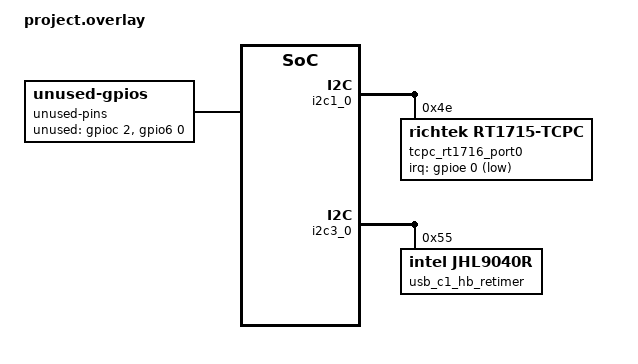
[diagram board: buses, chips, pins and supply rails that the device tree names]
/* Copyright 2022 The ChromiumOS Authors
 * Use of this source code is governed by a BSD-style license that can be
 * found in the LICENSE file.
 */

#include <cros/cbi_flash.dtsi>

/* Rex program common DTSI includes */
#include "../fan.dtsi"
#include "../generated.dtsi"
#include "../interrupts.dtsi"
#include "../keyboard.dtsi"
#include "../power_signals.dtsi"
#include "../rex.dtsi"
#include "../usbc.dtsi"

/* Karis project DTS includes */
#include "battery.dtsi"
#include "cbi.dtsi"
#include "i2c.dtsi"
#include "keyboard.dtsi"
#include "led_pins.dtsi"
#include "led_policy.dtsi"
#include "motionsense.dtsi"
#include "temp_sensors.dtsi"

/ {
	named-gpios {
		/delete-node/ ec_spare_gpio42;
		/delete-node/ ec_spare_gpioc7;
		/delete-node/ ec_spare_gpioa4;
		/delete-node/ ec_spare_gpiob1;
		/delete-node/ usb_c1_rst_odl;
		/delete-node/ usb_c0_rt_rst_ls_l;
		/delete-node/ led_3_l;
		/delete-node/ led_4_l;
		/delete-node/ usb_c0_sbu_fault_odl;
		/delete-node/ usb_c0_bc12_int_odl;
		/delete-node/ usb_c1_bc12_int_odl;

		gpio_usb_c0_frs_en: usb_c0_frs_en {
			gpios = <&gpio4 2 GPIO_OUTPUT_LOW>;
		};
		gpio_usb_c0_rt_rst_odl: usb_c0_rt_rst_odl {
			gpios = <&gpio3 7 GPIO_OUTPUT>;
		};
		/*
		 * Karis moves usb_c1_rst_odl form GPIO37 to GPIOC7
		 * and rename to usb_c1_rt_3p3_sx_en
		 */
		gpio_usb_c1_rst_odl: usb_c1_rt_3p3_sx_en {
			gpios = <&gpioc 7 GPIO_ODR_LOW>;
		};
		/*
		 * Karis moves usb_c1_rt_rst_r_odl form GPIO72 to
		 * GPIOA4 for the RST PIN should be 1.8V
		 */
		gpio_usb_c1_rt_rst_r_odl: usb_c1_rt_rst_r_odl {
			gpios = <&gpioa 4 GPIO_ODR_HIGH>;
		};
		gpio_ec_spare_gpio74: gpio_ec_spare_gpio74 {
			gpios = <&gpio7 4 GPIO_OUTPUT>;
		};
		gpio_en_pp5000_usba_r: en_pp5000_usba_r {
			gpios = <&gpiod 7 (GPIO_OUTPUT | GPIO_ACTIVE_LOW)>;
		};
		gpio_ec_kso_02_inv: ec_kso_02_inv {
			gpios = <&gpio1 7 (GPIO_OUTPUT | GPIO_ACTIVE_HIGH)>;
			enum-name = "GPIO_KBD_KSO2";
		};
		/*
		 * touch panel enable and soc backlight enable
		 * to control the touch enable timing
		 */
		gpio_ec_touch_en: ec_touch_en {
			gpios = <&gpiob 1 GPIO_OUTPUT_LOW>;
		};
		gpio_soc_3v3_edp_bl_en: soc_3v3_edp_bl_en {
			gpios = <&gpioc 6 GPIO_INPUT_PULL_DOWN>;
		};
	};

	unused-pins {
		compatible = "unused-gpios";
		unused-gpios =
			<&gpioc 2 0>, /* led_3_l */
			<&gpio6 0 0>; /* led_4_l */
	};

	aliases {
		hbr-usb-c1-rt-pwr-en = &gpio_usb_c1_rst_odl;
		hbr-usb-c1-rt-int-odl = &gpio_usb_c1_rt_int_odl;
		hbr-usb-c1-rt-rst-odl = &gpio_usb_c1_rt_rst_r_odl;
		syv-usb-c1-frs-en = &gpio_usb_c1_frs_en;
	};

	gpio-interrupts {
		/delete-node/ ec_als_rgb;
		/delete-node/ c0_sbu_fault;
		/delete-node/ usb_c0_bc12;
		/delete-node/ usb_c1_bc12;

		int_imu: ec_imu {
			irq-pin = <&gpio_ec_imu_int_r_l>;
			flags = <GPIO_INT_EDGE_FALLING>;
			handler = "bma4xx_interrupt";
		};
		int_soc_edp_bl_en: soc_edp_bl_en {
			irq-pin = <&gpio_soc_3v3_edp_bl_en>;
			flags = <GPIO_INT_EDGE_BOTH>;
			handler = "soc_edp_bl_interrupt";
		};
		int_accel: ec_accel {
			irq-pin = <&gpio_ec_accel_int_r_l>;
			flags = <GPIO_INT_EDGE_FALLING>;
			handler = "bma4xx_interrupt";
		};
	};
};

&i2c1_0 {
	/delete-node/ nct38xx@70;

	tcpc_rt1716_port0: rt1716@4e {
		compatible = "richtek,rt1715-tcpc";
		reg = <0x4e>;
		tcpc-flags = <(TCPC_FLAGS_TCPCI_REV2_0 |
			TCPC_FLAGS_TCPCI_REV2_0_NO_VSAFE0V)>;
		/* a duplicate of the <&gpio_usb_c0_tcpc_int_odl> node in
		 * "named-gpios". This is the Zephyr preferred style,
		 * the "named-gpios" node will be dealt with at a later date.
		 */
		irq-gpios = <&gpioe 0 GPIO_ACTIVE_LOW>;
		is-alt;
	};
};

&ppc_port0_syv {
	frs_en_gpio = <&gpio_usb_c0_frs_en>;
};

&i2c2_0 {
	/delete-node/ pi3usb9201@5f;
};

&i2c3_0 {
	usb_c1_hb_retimer: jhl9040r-c1@55 {
		compatible = "intel,jhl9040r";
		reg = <0x55>;
		ls-en-pin = <&gpio_usb_c1_rst_odl>; /* usb_c1_rt_3p3_sx_en */
		int-pin = <&gpio_usb_c1_rt_int_odl>;
		reset-pin = <&gpio_usb_c1_rt_rst_r_odl>;
	};
};

&usb_c0_hb_retimer {
	reset-pin = <&gpio_usb_c0_rt_rst_odl>;
};

&i2c6_1 {
	/delete-node/ pi3usb9201@5f;
	/delete-node/ usb-c1-hb-retimer@56;
};

&usbc_port0 {
	/delete-property/ bc12;

	tcpc = <&tcpc_rt1716_port0>;
};

&usbc_port1 {
	/delete-property/ bc12;
};

&fan0 {
	pwms = <&pwm5 0 PWM_KHZ(25) PWM_POLARITY_NORMAL>;
	rpm_min = <2500>;
	rpm_start = <2500>;
	rpm_max = <6000>;
};

&cbi_flash {
	/*
	 * CBI section size is 0x1000 bytes, the CBI portion lies at the end of
	 * EC_RO section. EC_RO section ends at 0x50000 byte which is the offset
	 */
	offset = <0x50000>;
	size = <0x1000>;
};

&cros_kb_raw {
	pinctrl-1 = <
		&ksi0_gpio_gp31
		&ksi1_gpio_gp30
		&ksi2_gpio_gp27
		&ksi3_gpio_gp26
		&ksi4_gpio_gp25
		&ksi5_gpio_gp24
		&ksi6_gpio_gp23
		&ksi7_gpio_gp22
		&kso00_gpio_gp21
		&kso01_gpio_gp20
		&kso03_gpio_gp16
		&kso04_gpio_gp15
		&kso05_gpio_gp14
		&kso06_gpio_gp13
		&kso07_gpio_gp12
		&kso08_gpio_gp11
		&kso09_gpio_gp10
		&kso10_gpio_gp07
		&kso11_gpio_gp06
		&kso12_gpio_gp05
		&kso13_gpio_gp04
		&kso14_gpio_gp82
	>;
	pinctrl-names = "default", "sleep";
};
